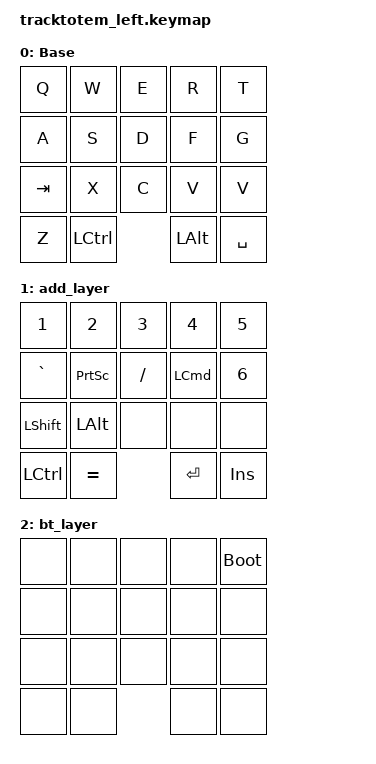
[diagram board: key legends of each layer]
#include <behaviors.dtsi>
#include <dt-bindings/zmk/keys.h>
#include <dt-bindings/zmk/bt.h>


/ {  
    keymap {
        compatible = "zmk,keymap";

        base_layer {
            display-name = "Base";
            bindings = <
				&kp Q    &kp W    &kp E    &kp R   &kp T
				&kp A    &kp S    &kp D    &kp F   &kp G
				&kp TAB  &kp X    &kp C    &kp V   &kp V
				&kp Z    &kp LCTRL    &kp LALT    &kp SPACE
			>;
        };
		
		add_layer {
			bindings = <
				&kp N1       &kp N2            &kp N3           &kp N4             &kp N5
				&kp GRAVE    &kp PRINTSCREEN   &kp SLASH        &kp LEFT_COMMAND   &kp N6
				&kp LSHIFT   &kp LALT          &none            &none              &none
				&kp LCTRL    &kp EQUAL         &kp ENTER                           &kp INSERT
			>;
		};
				
		
		bt_layer {
			bindings = <
				&none            &none            &none            &none            &bootloader
				&none            &none            &none            &none            &none
				&none            &none            &none            &none            &none
				&none                             &none            &none            &none
			>;
		};
    };
 };
 
/ {
    combos {
        compatible = "zmk,combos";
        combo_esc {
            timeout-ms = <50>;
            key-positions = < &kp Q  &kp W  &kp E>;
            layers = < bt_layer>;
        };
    };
